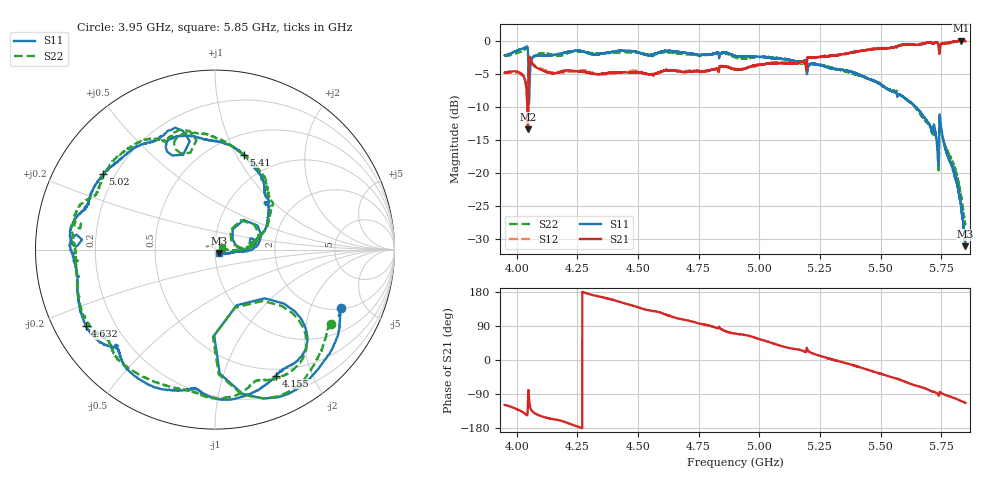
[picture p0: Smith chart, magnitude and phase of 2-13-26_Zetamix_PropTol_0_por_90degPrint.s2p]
# GHZ S RI R 50.000000000000
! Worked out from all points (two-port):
!   4501 points, 3.95 GHz to 5.85 GHz, reference 50 ohm
!   highest |S21| = -0.01 dB at 5.831 GHz (marker M1); lowest = -13.4 dB at 4.046 GHz (marker M2)
!   |S21| within 3 dB of the highest: 4.050457 GHz to 4.058182 GHz (7.725 MHz wide, 0.191 % of centre); 5.197 GHz to end of sweep
!   lowest |S11| = -31.0 dB at 5.85 GHz (marker M3), VSWR 1.06, Z = 52.2 - j1.9 ohm
!   |S11| at or under -10 dB: 5.644 GHz to end of sweep
!   |S22| runs from -28.3 to -1.0 dB; largest |S21 - S12| = 0.046
!   S11 on the Smith chart (normalised r, x): 3.95 GHz: 2.07, -3.34; 4.155 GHz: 0.42, -1.51; 4.632 GHz: 0.10, -0.27; 5.02 GHz: 0.15, +0.30; 5.41 GHz: 0.70, +1.07; 5.85 GHz: 1.04, -0.04
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3.95  0.7016 -0.3248  -0.2741 -0.5021  -0.2785 -0.5009  0.6458 -0.4128
4.019667  0.6257 -0.5958  -0.4014 -0.3913  -0.387 -0.397  0.5723 -0.6083
4.038244  0.5054 -0.7368  -0.3744 -0.2689  -0.3681 -0.2824  0.4877 -0.7306
4.046267  0.1529 -0.8031  -0.0743 -0.1999  -0.0705 -0.2061  0.1512 -0.808
4.057667  0.5075 -0.4469  -0.4473 -0.5531  -0.4406 -0.5635  0.498 -0.4526
4.066956  0.5051 -0.553  -0.4838 -0.446  -0.4849 -0.4582  0.5067 -0.5595
4.154778  0.3384 -0.7019  -0.5195 -0.2248  -0.5205 -0.2246  0.2598 -0.7261
4.267089  0.0196 -0.8336  -0.5833 -0.00761  -0.5936 -0.0182  -0.0102 -0.8281
4.583756  -0.6097 -0.5284  -0.3421 0.4583  -0.3471 0.4475  -0.656 -0.4637
4.632311  -0.7214 -0.4243  -0.2619 0.5374  -0.2789 0.5267  -0.7418 -0.3396
4.822733  -0.8052 0.00672  0.0513 0.6085  0.0333 0.6112  -0.7952 0.0921
4.9  -0.7325 0.2198  0.2104 0.5671  0.206 0.5734  -0.6904 0.2902
5.019911  -0.6244 0.4198  0.413 0.5173  0.3978 0.53  -0.5666 0.4925
5.217089  -0.2371 0.6218  0.7065 0.2308  0.6962 0.2524  -0.1868 0.6392
5.410467  0.1589 0.5296  0.7848 -0.2642  0.7907 -0.2371  0.1744 0.5215
5.533756  0.2766 0.3226  0.6425 -0.5941  0.6559 -0.587  0.2936 0.3102
5.653667  0.2794 0.1144  0.3345 -0.8658  0.37 -0.8613  0.2776 0.1047
5.732622  0.1658 0.00341  0.0285 -0.9668  0.0593 -0.9657  0.1672 0.0101
5.7512  0.2118 0.00407  0.0381 -0.9427  0.066 -0.9399  0.2036 0.0157
5.831422  0.0542 -0.0225  -0.306 -0.9504  -0.2752 -0.9588  0.0688 -0.00141
5.849578  0.0214 -0.0182  -0.3872 -0.9129  -0.3634 -0.9284  0.0379 0.0101
5.85  0.0222 -0.0189  -0.3874 -0.9108  -0.3658 -0.9275  0.037 0.011
